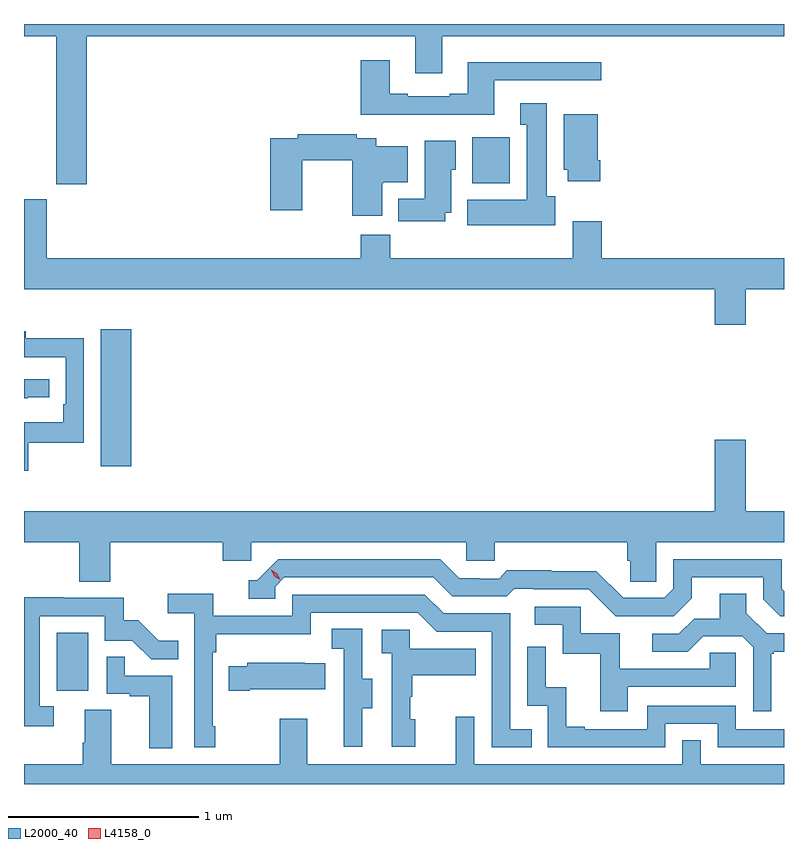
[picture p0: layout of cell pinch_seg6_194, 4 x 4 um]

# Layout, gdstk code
import gdstk
lib = gdstk.Library(unit=1e-6, precision=1e-09)
def R(c, l, rs):  # rectangles x0, y0, x1, y1
    for r in rs: c.add(gdstk.rectangle(r[:2], r[2:], *l))
def P(c, l, *ps):  # polygons
    for p in ps: c.add(gdstk.Polygon(p, *l))
L2000_40 = (2000, 40)
L4158_0 = (4158, 0)

pinch_seg6_194 = lib.new_cell('pinch_seg6_194')
R(pinch_seg6_194, L2000_40, [(1072.634,926.574,1072.798,926.881), (1072.865,927.756,1073.026,928.477), (1074.821,929.246,1075.018,929.488)])
P(pinch_seg6_194, L2000_40, [(1072.79,930.02),(1074.521,930.02),(1074.521,929.826),(1074.661,929.826),(1074.661,930.02),(1076.461,930.02),(1076.461,930.084),(1072.461,930.084),(1072.461,930.02),(1072.63,930.02),(1072.63,929.241),(1072.79,929.241)],
  [(1074.937,929.787),(1075.498,929.787),(1075.498,929.884),(1074.797,929.884),(1074.797,929.716),(1074.701,929.716),(1074.701,929.703),(1074.481,929.703),(1074.481,929.716),(1074.385,929.716),(1074.385,929.893),(1074.233,929.893),(1074.233,929.606),(1074.937,929.606)],
  [(1075.258,929.178),(1075.213,929.178),(1075.213,929.668),(1075.073,929.668),(1075.073,929.555),(1075.106,929.555),(1075.106,929.158),(1074.794,929.158),(1074.794,929.024),(1075.258,929.024)],
  [(1075.493,929.368),(1075.48,929.368),(1075.48,929.608),(1075.301,929.608),(1075.301,929.316),(1075.322,929.316),(1075.322,929.256),(1075.493,929.256)],
  [(1074.346,929.246),(1074.352,929.246),(1074.352,929.252),(1074.481,929.252),(1074.481,929.44),(1074.316,929.44),(1074.316,929.484),(1074.212,929.484),(1074.212,929.504),(1073.902,929.504),(1073.902,929.484),(1073.756,929.484),(1073.756,929.103),(1073.926,929.103),(1073.926,929.368),(1074.188,929.368),(1074.188,929.076),(1074.346,929.076)],
  [(1074.679,929.09),(1074.709,929.09),(1074.709,929.316),(1074.733,929.316),(1074.733,929.47),(1074.569,929.47),(1074.569,929.164),(1074.431,929.164),(1074.431,929.046),(1074.679,929.046)],
  [(1076.26,928.688),(1076.461,928.688),(1076.461,928.852),(1075.502,928.852),(1075.502,929.047),(1075.349,929.047),(1075.349,928.852),(1074.389,928.852),(1074.389,928.976),(1074.233,928.976),(1074.233,928.852),(1072.582,928.852),(1072.582,929.161),(1072.461,929.161),(1072.461,928.688),(1076.096,928.688),(1076.096,928.5),(1076.26,928.5)],
  [(1072.483,927.879),(1072.776,927.879),(1072.776,928.43),(1072.471,928.43),(1072.471,928.468),(1072.461,928.468),(1072.461,928.329),(1072.68,928.329),(1072.68,928.084),(1072.667,928.084),(1072.667,927.988),(1072.461,927.988),(1072.461,927.732),(1072.483,927.732)],
  [(1072.481,928.119),(1072.594,928.119),(1072.594,928.215),(1072.461,928.215),(1072.461,928.114),(1072.481,928.114)],
  [(1072.916,927.356),(1073.507,927.356),(1073.507,927.258),(1073.658,927.258),(1073.658,927.356),(1074.789,927.356),(1074.789,927.258),(1074.939,927.258),(1074.939,927.356),(1075.637,927.356),(1075.637,927.258),(1075.651,927.258),(1075.651,927.148),(1075.788,927.148),(1075.788,927.356),(1076.461,927.356),(1076.461,927.52),(1076.26,927.52),(1076.26,927.895),(1076.096,927.895),(1076.096,927.52),(1072.461,927.52),(1072.461,927.356),(1072.751,927.356),(1072.751,927.148),(1072.916,927.148)],
  [(1075.975,927.061),(1075.975,927.171),(1076.352,927.171),(1076.352,927.057),(1076.442,926.967),(1076.461,926.967),(1076.461,927.098),(1076.448,927.111),(1076.448,927.267),(1075.878,927.267),(1075.878,927.111),(1075.83,927.063),(1075.614,927.063),(1075.472,927.205),(1075.236,927.205),(1075.236,927.208),(1075.003,927.208),(1074.961,927.165),(1074.858,927.165),(1074.858,927.168),(1074.751,927.168),(1074.652,927.267),(1073.799,927.267),(1073.688,927.156),(1073.645,927.156),(1073.645,927.06),(1073.784,927.06),(1073.784,927.123),(1073.832,927.171),(1074.615,927.171),(1074.714,927.072),(1075.003,927.072),(1075.042,927.111),(1075.141,927.111),(1075.141,927.108),(1075.434,927.108),(1075.575,926.967),(1075.881,926.967)],
  [(1073.467,926.389),(1073.454,926.389),(1073.454,926.777),(1073.474,926.777),(1073.474,926.873),(1073.97,926.873),(1073.97,926.985),(1074.534,926.985),(1074.633,926.886),(1074.924,926.886),(1074.924,926.277),(1075.133,926.277),(1075.133,926.373),(1075.02,926.373),(1075.02,926.982),(1074.67,926.982),(1074.571,927.081),(1073.874,927.081),(1073.874,926.97),(1073.456,926.97),(1073.456,927.086),(1073.217,927.086),(1073.217,926.984),(1073.358,926.984),(1073.358,926.277),(1073.467,926.277)],
  [(1076.395,926.769),(1076.407,926.769),(1076.407,926.78),(1076.461,926.78),(1076.461,926.877),(1076.37,926.877),(1076.263,926.984),(1076.263,927.086),(1076.123,927.086),(1076.123,926.954),(1075.988,926.954),(1075.908,926.874),(1075.767,926.874),(1075.767,926.781),(1075.954,926.781),(1076.035,926.862),(1076.241,926.862),(1076.298,926.805),(1076.298,926.466),(1076.395,926.466)],
  [(1072.618,926.493),(1072.545,926.493),(1072.545,926.967),(1072.887,926.967),(1072.887,926.838),(1073.032,926.838),(1073.13,926.74),(1073.273,926.74),(1073.273,926.839),(1073.169,926.839),(1073.062,926.946),(1072.986,926.946),(1072.986,927.063),(1072.667,927.063),(1072.667,927.068),(1072.461,927.068),(1072.461,926.388),(1072.618,926.388)],
  [(1075.639,926.595),(1076.208,926.595),(1076.208,926.775),(1076.071,926.775),(1076.071,926.691),(1075.597,926.691),(1075.597,926.877),(1075.392,926.877),(1075.392,927.018),(1075.149,927.018),(1075.149,926.922),(1075.296,926.922),(1075.296,926.769),(1075.495,926.769),(1075.495,926.466),(1075.639,926.466)],
  [(1074.241,926.482),(1074.295,926.482),(1074.295,926.637),(1074.24,926.637),(1074.24,926.9),(1074.081,926.9),(1074.081,926.797),(1074.144,926.797),(1074.144,926.493),(1074.143,926.493),(1074.143,926.28),(1074.241,926.28)],
  [(1074.52,926.424),(1074.495,926.424),(1074.495,926.543),(1074.505,926.543),(1074.505,926.657),(1074.839,926.657),(1074.839,926.797),(1074.492,926.797),(1074.492,926.895),(1074.345,926.895),(1074.345,926.771),(1074.396,926.771),(1074.396,926.28),(1074.52,926.28)],
  [(1075.836,926.4),(1076.112,926.4),(1076.112,926.277),(1076.461,926.277),(1076.461,926.373),(1076.208,926.373),(1076.208,926.496),(1075.74,926.496),(1075.74,926.373),(1075.411,926.373),(1075.411,926.386),(1075.316,926.386),(1075.316,926.594),(1075.206,926.594),(1075.206,926.806),(1075.11,926.806),(1075.11,926.496),(1075.218,926.496),(1075.218,926.277),(1075.836,926.277)],
  [(1073.242,926.655),(1072.991,926.655),(1072.991,926.753),(1072.896,926.753),(1072.896,926.559),(1073.017,926.559),(1073.017,926.547),(1073.12,926.547),(1073.12,926.273),(1073.242,926.273)],
  [(1073.65,926.582),(1074.047,926.582),(1074.047,926.719),(1073.939,926.719),(1073.939,926.722),(1073.637,926.722),(1073.637,926.704),(1073.539,926.704),(1073.539,926.575),(1073.65,926.575)],
  [(1076.022,926.315),(1075.926,926.315),(1075.926,926.188),(1074.831,926.188),(1074.831,926.437),(1074.734,926.437),(1074.734,926.188),(1073.953,926.188),(1073.953,926.428),(1073.806,926.428),(1073.806,926.188),(1072.921,926.188),(1072.921,926.474),(1072.781,926.474),(1072.781,926.3),(1072.769,926.3),(1072.769,926.188),(1072.461,926.188),(1072.461,926.084),(1076.461,926.084),(1076.461,926.188),(1076.022,926.188)])
P(pinch_seg6_194, L4158_0, [(1073.809,927.158),(1073.778,927.178),(1073.763,927.21),(1073.763,927.211),(1073.763,927.211),(1073.793,927.191),(1073.809,927.158),(1073.809,927.158)])

lib.write_gds('pinch_seg6_194.gds')
